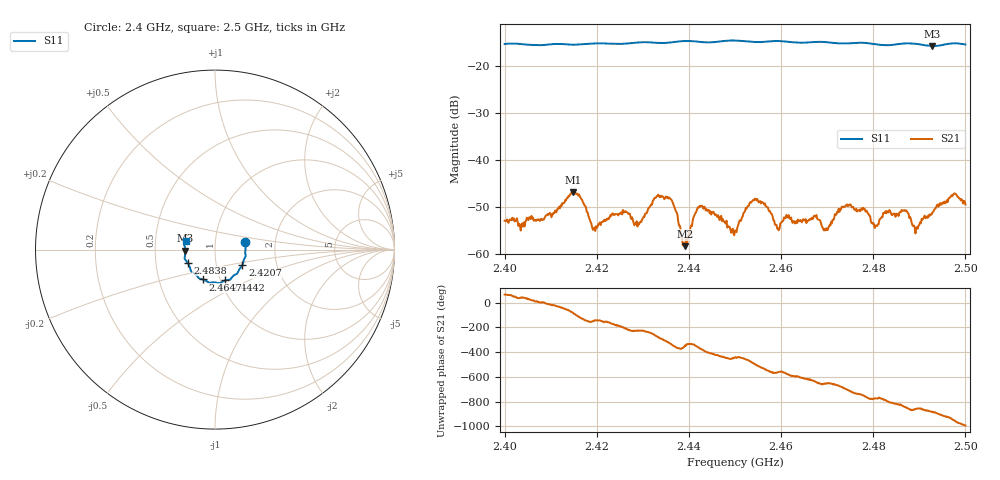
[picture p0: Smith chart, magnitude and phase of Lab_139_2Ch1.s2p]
# Hz S RI R 50
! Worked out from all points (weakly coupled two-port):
!   601 points, 2.4 GHz to 2.5 GHz, reference 50 ohm
!   highest |S21| = -46.90 dB at 2.4148 GHz (marker M1); lowest = -58.4 dB at 2.4392 GHz (marker M2)
!   lowest |S11| = -15.6 dB at 2.4928 GHz (marker M3), VSWR 1.40, Z = 35.8 - j0.442 ohm
!   |S11| at or under -10 dB: start of sweep to end of sweep
!   S12 and S22 are empty: the file has one direction only
!   S11 on the Smith chart (normalised r, x): 2.4 GHz: 1.40, +0.12; 2.4207 GHz: 1.34, -0.24; 2.4442 GHz: 1.05, -0.37; 2.4647 GHz: 0.83, -0.29; 2.4838 GHz: 0.73, -0.11; 2.5 GHz: 0.71, +0.07
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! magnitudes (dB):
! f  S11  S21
! 2.4 GHz  -15.2  -53.0
! 2.4082 GHz  -15.4  -52.9
! 2.4148 GHz  -15.4  -46.9
! 2.4167 GHz  -15.3  -48.3
! 2.4192 GHz  -15.1  -54.9
! 2.4207 GHz  -15.1  -53.3
! 2.4293 GHz  -14.8  -53.4
! 2.4333 GHz  -15.0  -47.4
! 2.4362 GHz  -14.9  -48.4
! 2.4392 GHz  -14.6  -58.4
! 2.4418 GHz  -14.7  -50.3
! 2.4442 GHz  -14.9  -50.6
! 2.45 GHz  -14.5  -55.0
! 2.4543 GHz  -14.8  -48.2
! 2.4592 GHz  -14.6  -54.7
! 2.4647 GHz  -14.9  -52.9
! 2.4667 GHz  -14.8  -52.3
! 2.4833 GHz  -15.5  -51.2
! 2.4838 GHz  -15.4  -51.3
! 2.4892 GHz  -15.2  -55.7
! 2.4928 GHz  -15.6  -51.2
! 2.5 GHz  -15.3  -49.5
